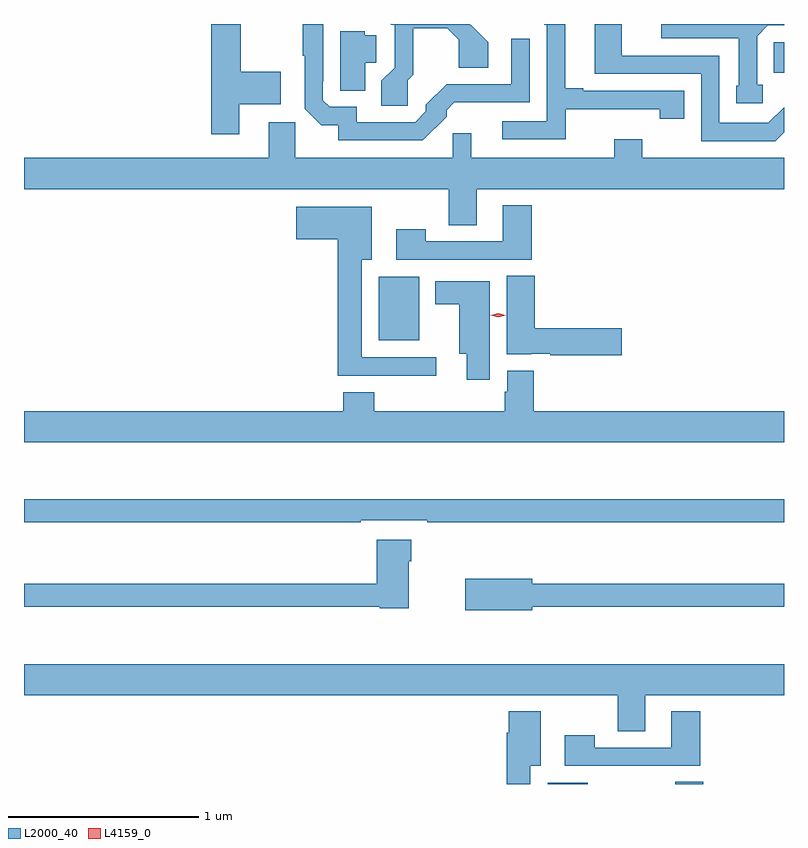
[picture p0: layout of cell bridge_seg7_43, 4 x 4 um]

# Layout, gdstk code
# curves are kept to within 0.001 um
import gdstk
lib = gdstk.Library(unit=1e-6, precision=1e-09)
def R(c, l, rs):  # rectangles x0, y0, x1, y1
    for r in rs: c.add(gdstk.rectangle(r[:2], r[2:], *l))
def P(c, l, *ps):  # polygons
    for p in ps: c.add(gdstk.Polygon(p, *l))
L2000_40 = (2000, 40)
L4159_0 = (4159, 0)

bridge_seg7_43 = lib.new_cell('bridge_seg7_43')
R(bridge_seg7_43, L2000_40, [(977.864,1074.741,978.076,1074.748), (978.536,1074.741,978.683,1074.752), (976.976,1077.077,977.188,1077.412), (979.055,1078.485,979.108,1078.646)])
P(bridge_seg7_43, L2000_40, [(979.108,1078.171),(979.108,1078.303),(979.026,1078.221),(978.768,1078.221),(978.768,1078.575),(978.253,1078.575),(978.253,1078.741),(978.113,1078.741),(978.113,1078.479),(978.672,1078.479),(978.672,1078.125),(979.062,1078.125)],
  [(977.332,1078.253),(977.332,1078.288),(977.372,1078.328),(977.769,1078.329),(977.769,1078.663),(977.673,1078.663),(977.673,1078.425),(977.333,1078.425),(977.223,1078.315),(977.223,1078.281),(977.166,1078.224),(976.86,1078.224),(976.86,1078.305),(976.716,1078.305),(976.68,1078.341),(976.68,1078.441),(976.683,1078.441),(976.683,1078.741),(976.575,1078.741),(976.575,1078.573),(976.586,1078.573),(976.586,1078.294),(976.672,1078.209),(976.762,1078.209),(976.762,1078.128),(977.206,1078.128)],
  [(978.996,1078.422),(978.966,1078.422),(978.966,1078.677),(979.023,1078.734),(979.108,1078.734),(979.108,1078.741),(978.461,1078.741),(978.461,1078.665),(978.87,1078.665),(978.87,1078.416),(978.857,1078.416),(978.857,1078.323),(978.996,1078.323)],
  [(977.96,1078.292),(978.455,1078.292),(978.455,1078.242),(978.583,1078.242),(978.583,1078.389),(978.052,1078.389),(978.052,1078.402),(977.956,1078.402),(977.956,1078.741),(977.847,1078.741),(977.847,1078.736),(977.859,1078.736),(977.859,1078.23),(977.625,1078.23),(977.625,1078.134),(977.96,1078.134)],
  [(976.24,1078.319),(976.459,1078.319),(976.459,1078.49),(976.248,1078.49),(976.248,1078.741),(976.094,1078.741),(976.094,1078.161),(976.24,1078.161)],
  [(977.127,1078.445),(977.156,1078.474),(977.156,1078.719),(977.335,1078.719),(977.397,1078.658),(977.397,1078.51),(977.551,1078.51),(977.551,1078.646),(977.463,1078.734),(977.462,1078.733),(977.454,1078.741),(977.036,1078.741),(977.04,1078.737),(977.058,1078.737),(977.058,1078.512),(976.988,1078.442),(976.988,1078.311),(977.127,1078.311)],
  [(976.903,1078.538),(976.962,1078.538),(976.962,1078.683),(976.902,1078.683),(976.902,1078.702),(976.773,1078.702),(976.773,1078.39),(976.903,1078.39)],
  [(977.491,1077.872),(979.108,1077.872),(979.108,1078.036),(978.363,1078.036),(978.363,1078.135),(978.215,1078.135),(978.215,1078.036),(977.461,1078.036),(977.461,1078.166),(977.365,1078.166),(977.365,1078.036),(976.535,1078.036),(976.535,1078.224),(976.397,1078.224),(976.397,1078.036),(975.108,1078.036),(975.108,1077.872),(977.344,1077.872),(977.344,1077.682),(977.491,1077.682)],
  [(977.78,1077.787),(977.627,1077.787),(977.627,1077.597),(977.223,1077.597),(977.223,1077.661),(977.067,1077.661),(977.067,1077.501),(977.78,1077.501)],
  [(977.278,1076.988),(976.885,1076.988),(976.885,1077.5),(976.939,1077.5),(976.939,1077.778),(976.542,1077.778),(976.542,1077.608),(976.76,1077.608),(976.76,1076.891),(977.278,1076.891)],
  [(978.253,1077.14),(977.795,1077.14),(977.795,1077.416),(977.648,1077.416),(977.648,1077.002),(977.778,1077.002),(977.778,1077.005),(977.878,1077.005),(977.878,1076.998),(978.253,1076.998)],
  [(977.56,1077.388),(977.273,1077.388),(977.273,1077.266),(977.399,1077.266),(977.399,1077.005),(977.438,1077.005),(977.438,1076.868),(977.56,1076.868)],
  [(979.108,1076.704),(977.792,1076.704),(977.792,1076.917),(977.651,1076.917),(977.651,1076.805),(977.639,1076.805),(977.639,1076.704),(976.952,1076.704),(976.952,1076.803),(976.787,1076.803),(976.787,1076.704),(975.108,1076.704),(975.108,1076.54),(979.108,1076.54)],
  [(976.88,1076.13),(977.23,1076.13),(977.23,1076.118),(979.108,1076.118),(979.108,1076.239),(975.108,1076.239),(975.108,1076.118),(976.88,1076.118)],
  [(977.134,1075.913),(977.147,1075.913),(977.147,1076.026),(976.964,1076.026),(976.964,1075.795),(975.108,1075.795),(975.108,1075.674),(976.98,1075.674),(976.98,1075.666),(977.134,1075.666)],
  [(977.782,1075.674),(979.108,1075.674),(979.108,1075.795),(977.782,1075.795),(977.782,1075.821),(977.43,1075.821),(977.43,1075.655),(977.782,1075.655)],
  [(978.379,1075.208),(979.108,1075.208),(979.108,1075.372),(975.108,1075.372),(975.108,1075.208),(978.232,1075.208),(978.232,1075.018),(978.379,1075.018)],
  [(977.773,1074.836),(977.827,1074.836),(977.827,1075.123),(977.66,1075.123),(977.66,1075.01),(977.648,1075.01),(977.648,1074.741),(977.773,1074.741)],
  [(978.668,1075.123),(978.515,1075.123),(978.515,1074.933),(978.111,1074.933),(978.111,1074.997),(977.955,1074.997),(977.955,1074.837),(978.668,1074.837)])
P(bridge_seg7_43, L4159_0, [(977.604,1077.198),(977.564,1077.207),(977.564,1077.207),(977.564,1077.208),(977.604,1077.218),(977.643,1077.208),(977.643,1077.208),(977.643,1077.207)])

lib.write_gds('bridge_seg7_43.gds')
